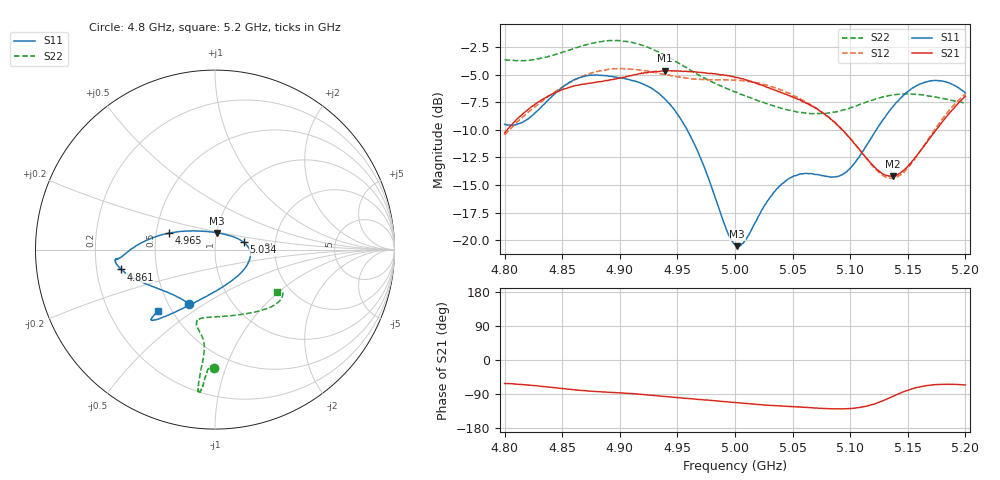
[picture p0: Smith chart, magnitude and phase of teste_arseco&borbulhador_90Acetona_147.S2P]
! Network Analyzer HP8722D
! Hewlett-Packard
! Data name: Linha & Wilkinson
! Saver's name: Rodrigo Anjos
! Comments: Teste da utilização de aquisição
! continua pelo VNA HP8722D
! Time and date: 17/4/2025 12:16
!  Frequency  S11  S21  S12  S22
# HZ  S  MA R 50
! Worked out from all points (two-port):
!   401 points, 4.8 GHz to 5.2 GHz, reference 50 ohm
!   highest |S21| = -4.64 dB at 4.939 GHz (marker M1); lowest = -14.2 dB at 5.137 GHz (marker M2)
!   |S21| within 3 dB of the highest: 4.827 GHz to 5.063 GHz (236.3 MHz wide, 4.78 % of centre); 5.193424 GHz to end of sweep
!   lowest |S11| = -20.5 dB at 5.002 GHz (marker M3), VSWR 1.21, Z = 50.3 + j9.47 ohm
!   |S11| at or under -10 dB: 4.958 GHz to 5.123 GHz (164.1 MHz wide, 3.26 % of centre)
!   |S22| runs from -8.6 to -1.9 dB; largest |S21 - S12| = 0.88
!   S11 on the Smith chart (normalised r, x): 4.8 GHz: 0.63, -0.43; 4.861 GHz: 0.31, -0.09; 4.965 GHz: 0.59, +0.12; 5.034 GHz: 1.38, +0.12; 5.2 GHz: 0.43, -0.37
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4.8e9  0.3348 -116.0  0.3062 -61.9  0.2998 -176.2  0.6574 -90.6
4.819e9  0.3512 -136.2  0.3849 -65.7  0.3737 -175.4  0.6521 -92.4
4.861e9  0.5351 -168.0  0.5006 -78.8  0.5333 -178.7  0.739 -94.8
4.867e9  0.5485 -170.5  0.508 -80.6  0.5498 -179.7  0.7578 -95.1
4.899e9  0.5444 -174.8  0.5406 -86.8  0.5972 173.9  0.8009 -96.4
4.934e9  0.462 179.2  0.5813 -95.0  0.5712 170.5  0.7086 -96.9
4.939e9  0.437 177.0  0.5861 -96.2  0.5638 170.5  0.688 -96.7
4.965e9  0.2707 160.2  0.5795 -103.2  0.5367 172.7  0.5746 -96.0
4.993e9  0.1104 114.2  0.5571 -110.4  0.5323 174.9  0.4859 -98.7
5e9  0.09564 90.3  0.5462 -112.4  0.5314 174.9  0.4697 -100.2
5.002e9  0.09406 82.8  0.5456 -112.9  0.5299 174.9  0.4656 -100.6
5.009e9  0.1002 59.1  0.5323 -114.7  0.5277 174.6  0.4499 -102.1
5.034e9  0.1653 14.4  0.4798 -120.4  0.4912 173.6  0.4047 -103.8
5.049e9  0.1927 -0.2  0.4465 -122.8  0.4563 173.0  0.3854 -99.7
5.067e9  0.2 -19.6  0.4052 -126.0  0.4069 172.6  0.3743 -89.7
5.097e9  0.2041 -72.1  0.3005 -128.6  0.3011 174.6  0.3928 -66.3
5.121e9  0.306 -109.6  0.2144 -116.1  0.2122 -170.8  0.4341 -49.8
5.134e9  0.3844 -120.0  0.1951 -100.2  0.191 -153.2  0.4521 -43.4
5.137e9  0.4018 -121.6  0.195 -96.2  0.1911 -148.4  0.455 -42.1
5.149e9  0.4667 -126.8  0.2133 -80.9  0.21 -130.8  0.4596 -37.6
5.17e9  0.5272 -131.6  0.2933 -66.2  0.2985 -112.5  0.4491 -32.9
5.2e9  0.4638 -132.8  0.4489 -66.0  0.4597 -107.9  0.4171 -34.5
